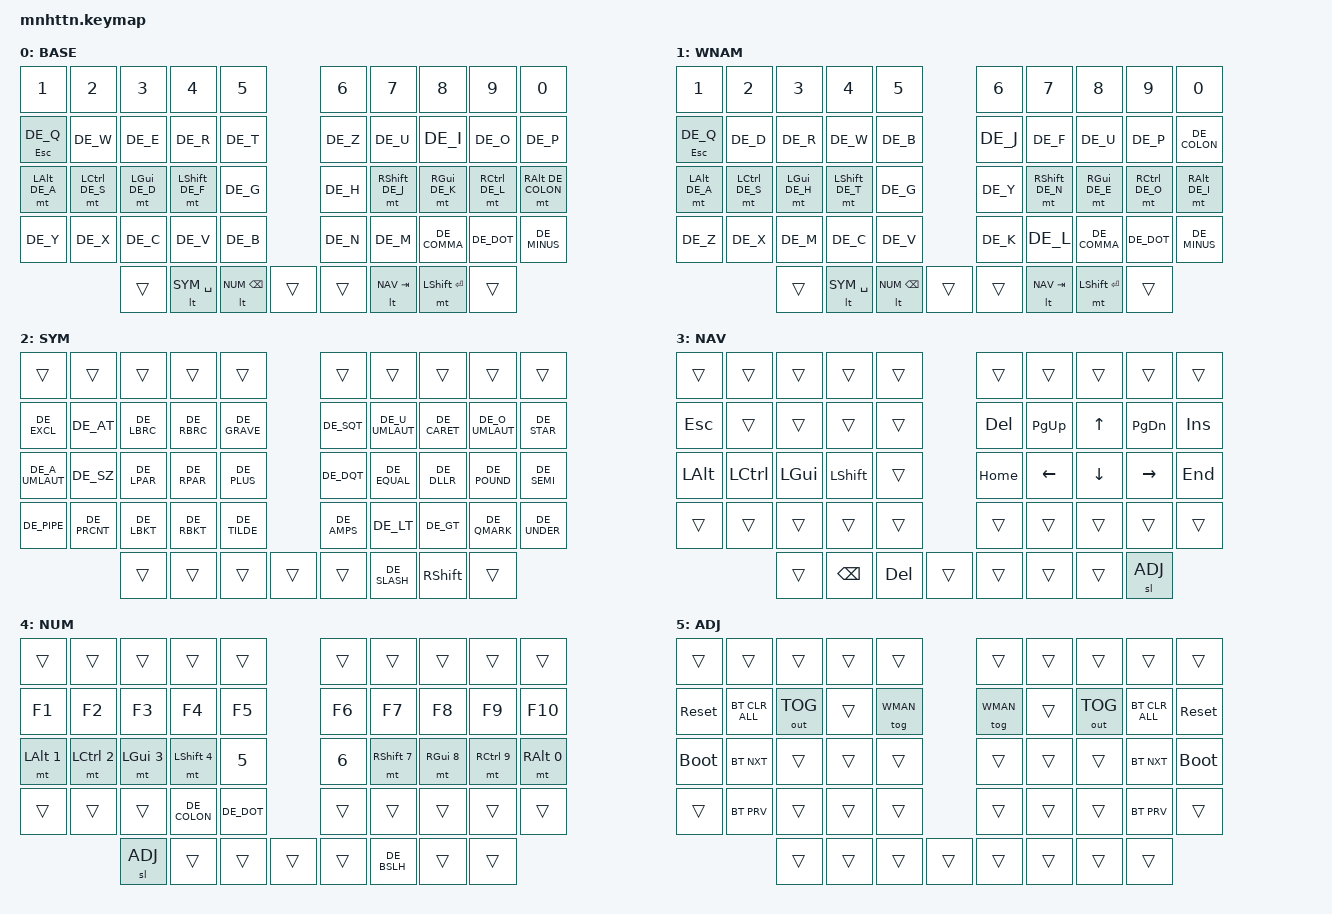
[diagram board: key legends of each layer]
#include <behaviors.dtsi>
#include <dt-bindings/zmk/keys.h>
#include <dt-bindings/zmk/bt.h>
#include <dt-bindings/zmk/outputs.h>

#include "keys_de.h"

#define BASE 0
#define WMAN 1
#define SYM  2
#define NAV  3
#define NUM  4
#define ADJ  5

/ {
    chosen {
      zmk,battery = &vbatt;
    };

    vbatt: vbatt {
        compatible = "zmk,battery-nrf-vddh";
    };

    behaviors {
        ht: hold_tap {
            compatible = "zmk,behavior-hold-tap";
            #binding-cells = <2>;
            flavor = "tap-preferred";
            tapping-term-ms = <200>;
            quick-tap-ms = <100>;
            bindings = <&kp>, <&kp>;
        };
        mt: mod_tap {
            compatible = "zmk,behavior-hold-tap";
            #binding-cells = <2>;
            quick-tap-ms = <100>;
            flavor = "balanced";
            tapping-term-ms = <170>;
        };
        lt: layer_tap {
            compatible = "zmk,behavior-hold-tap";
            #binding-cells = <2>;
            quick-tap-ms = <100>;
            flavor = "balanced";
            tapping-term-ms = <170>;
        };
    };

    keymap {
        compatible = "zmk,keymap";
        base_layer {
            label= "BASE";
            bindings = <
                &kp N1          &kp N2          &kp N3          &kp N4          &kp N5                                &kp N6          &kp N7          &kp N8          &kp N9          &kp N0
                &ht ESC DE_Q    &kp DE_W        &kp DE_E        &kp DE_R        &kp DE_T                              &kp DE_Z        &kp DE_U        &kp DE_I        &kp DE_O        &kp DE_P
                &mt LALT DE_A   &mt LCTRL DE_S  &mt LGUI DE_D   &mt LSHFT DE_F  &kp DE_G                              &kp DE_H        &mt RSHFT DE_J  &mt RGUI DE_K   &mt RCTRL DE_L  &mt RALT DE_COLON
                &kp DE_Y        &kp DE_X        &kp DE_C        &kp DE_V        &kp DE_B                              &kp DE_N        &kp DE_M        &kp DE_COMMA    &kp DE_DOT      &kp DE_MINUS
                                                &trans          &lt SYM SPACE   &lt NUM BSPC  &trans          &trans  &lt NAV TAB     &mt LSHFT RET   &trans
            >;
        };

        workman_layer {
            label= "WNAM";
            bindings = <
                &kp N1          &kp N2          &kp N3          &kp N4          &kp N5                                &kp N6          &kp N7          &kp N8          &kp N9          &kp N0
                &ht ESC DE_Q    &kp DE_D        &kp DE_R        &kp DE_W        &kp DE_B                              &kp DE_J        &kp DE_F        &kp DE_U        &kp DE_P        &kp DE_COLON
                &mt LALT DE_A   &mt LCTRL DE_S  &mt LGUI DE_H   &mt LSHFT DE_T  &kp DE_G                              &kp DE_Y        &mt RSHFT DE_N  &mt RGUI DE_E   &mt RCTRL DE_O  &mt RALT DE_I
                &kp DE_Z        &kp DE_X        &kp DE_M        &kp DE_C        &kp DE_V                              &kp DE_K        &kp DE_L        &kp DE_COMMA    &kp DE_DOT      &kp DE_MINUS
                                                &trans          &lt SYM SPACE   &lt NUM BSPC  &trans          &trans  &lt NAV TAB     &mt LSHFT RET   &trans
            >;
        };

        sim_layer {
            label= "SYM";
            bindings = <
                &trans          &trans          &trans          &trans          &trans                                &trans          &trans          &trans          &trans          &trans
                &kp DE_EXCL     &kp DE_AT       &kp DE_LBRC     &kp DE_RBRC     &kp DE_GRAVE                          &kp DE_SQT      &kp DE_U_UMLAUT &kp DE_CARET    &kp DE_O_UMLAUT &kp DE_STAR
                &kp DE_A_UMLAUT &kp DE_SZ       &kp DE_LPAR     &kp DE_RPAR     &kp DE_PLUS                           &kp DE_DQT      &kp DE_EQUAL    &kp DE_DLLR     &kp DE_POUND    &kp DE_SEMI
                &kp DE_PIPE     &kp DE_PRCNT    &kp DE_LBKT     &kp DE_RBKT     &kp DE_TILDE                          &kp DE_AMPS     &kp DE_LT       &kp DE_GT       &kp DE_QMARK    &kp DE_UNDER
                                                &trans          &trans          &trans        &trans          &trans  &kp DE_SLASH    &kp RSHFT       &trans
            >;
        };

        nav_layer {
            label= "NAV";
	          bindings = <
                &trans          &trans          &trans          &trans          &trans                                &trans          &trans          &trans          &trans          &trans
                &kp ESC         &trans          &trans          &trans          &trans                                &kp DEL         &kp PG_UP       &kp UP          &kp PG_DN       &kp INS
                &kp LALT        &kp LCTRL       &kp LGUI        &kp LSHFT       &trans                                &kp HOME        &kp LEFT        &kp DOWN        &kp RIGHT       &kp END
                &trans          &trans          &trans          &trans          &trans                                &trans          &trans          &trans          &trans          &trans
                                                &trans          &kp BSPC        &kp DEL       &trans          &trans  &trans          &trans          &sl ADJ
            >;
        };

        num_layer {
            label= "NUM";
	          bindings = <
                &trans          &trans          &trans          &trans          &trans                                &trans          &trans          &trans          &trans          &trans
                &kp F1          &kp F2          &kp F3          &kp F4          &kp F5                                &kp F6          &kp F7          &kp F8          &kp F9          &kp F10
                &mt LALT N1     &mt LCTRL N2    &mt LGUI N3     &mt LSHFT N4    &kp N5                                &kp N6          &mt RSHFT N7    &mt RGUI N8     &mt RCTRL N9    &mt RALT N0
                &trans          &trans          &trans          &kp DE_COLON    &kp DE_DOT                            &trans          &trans          &trans          &trans          &trans
                                                &sl ADJ         &trans          &trans        &trans          &trans  &kp DE_BSLH     &trans          &trans
            >;
        };

        adjust_layer {
            label= "ADJ";
	          bindings = <
                &trans          &trans          &trans          &trans          &trans                                &trans          &trans          &trans          &trans          &trans
                &sys_reset      &bt BT_CLR_ALL  &out OUT_TOG    &trans          &tog WMAN                             &tog WMAN       &trans          &out OUT_TOG    &bt BT_CLR_ALL  &sys_reset
                &bootloader     &bt BT_NXT      &trans          &trans          &trans                                &trans          &trans          &trans          &bt BT_NXT      &bootloader
                &trans          &bt BT_PRV      &trans          &trans          &trans                                &trans          &trans          &trans          &bt BT_PRV      &trans
                                                &trans          &trans          &trans        &trans          &trans  &trans          &trans          &trans
            >;
        };
    };
};
